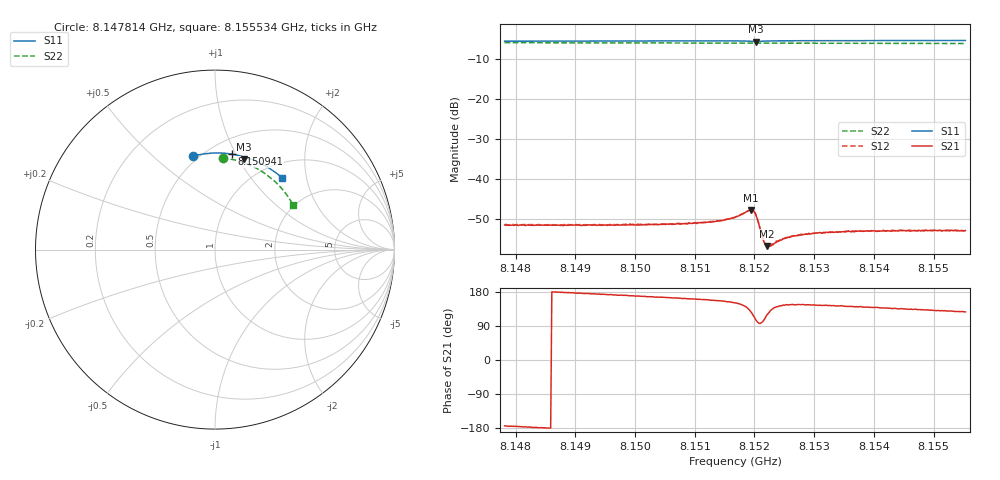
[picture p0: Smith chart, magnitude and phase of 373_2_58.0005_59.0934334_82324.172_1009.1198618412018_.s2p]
#  HZ  S  RI  R  50.00
! Rohde & Schwarz Vector Network Analyzer
! Rohde-Schwarz,ZNB20-2Port,1311601062101988,3.16
! Created: UTC 3/21/2024, 1:07:00 AM
! freq[Hz]  re:S11  im:S11  re:S21  im:S21  re:S12  im:S12  re:S22  im:S22
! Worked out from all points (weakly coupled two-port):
!   401 points, 8.147814 GHz to 8.155534 GHz, reference 50 ohm
!   highest |S21| = -47.82 dB at 8.151944 GHz (marker M1); lowest = -56.9 dB at 8.152214 GHz (marker M2)
!   lowest |S11| = -5.5 dB at 8.152021 GHz (marker M3), VSWR 3.25, Z = 37.5 + j52.6 ohm
!   |S11| at or under -10 dB: nowhere
!   |S22| runs from -6.0 to -5.8 dB; largest |S21 - S12| = 0.00012
!   S11 on the Smith chart (normalised r, x): 8.147814 GHz: 0.47, +0.68; 8.150941 GHz: 0.64, +0.96; 8.155534 GHz: 1.27, +1.45
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8.1478137e9  -0.1239 0.5205  -0.00262 -0.00029  -0.00265 -0.000226  0.0424 0.5108
8.1491069e9  -0.0351 0.5362  -0.00261 0.000186  -0.00262 0.000232  0.1248 0.4954
8.1504001e9  0.0549 0.5369  -0.00259 0.00065  -0.00261 0.000715  0.2033 0.4669
8.1509405e9  0.0925 0.5323  -0.00261 0.000882  -0.00264 0.000934  0.234 0.4511
8.1513072e9  0.118 0.5276  -0.00267 0.00111  -0.00271 0.00114  0.2543 0.4393
8.151674e9  0.1445 0.5208  -0.00286 0.00162  -0.00287 0.00165  0.274 0.4267
8.1518863e9  0.1597 0.5121  -0.00285 0.00269  -0.00283 0.00277  0.2852 0.4187
8.1519442e9  0.162 0.5079  -0.00241 0.00327  -0.0024 0.00333  0.288 0.4165
8.1519828e9  0.162 0.5054  -0.00177 0.00354  -0.00174 0.00359  0.2897 0.4152
8.1520214e9  0.1607 0.5045  -0.000986 0.00342  -0.000979 0.00347  0.2917 0.4136
8.15206e9  0.1601 0.5057  -0.00043 0.0029  -0.000414 0.00292  0.2935 0.4124
8.1521179e9  0.1624 0.5088  -0.000308 0.00201  -0.000273 0.00201  0.2965 0.4102
8.1521565e9  0.1653 0.51  -0.000424 0.00158  -0.000393 0.00162  0.2985 0.4088
8.1521758e9  0.1668 0.5105  -0.000522 0.00145  -0.000494 0.00147  0.2995 0.4082
8.1522144e9  0.17 0.5108  -0.000724 0.00124  -0.000712 0.00127  0.3015 0.4067
8.1522916e9  0.1765 0.5105  -0.00101 0.00107  -0.00104 0.00113  0.3054 0.4036
8.152446e9  0.1881 0.5078  -0.00135 0.00102  -0.00137 0.00105  0.3131 0.3976
8.1526004e9  0.1991 0.5045  -0.00155 0.00104  -0.00155 0.00109  0.3203 0.3912
8.1529672e9  0.2237 0.495  -0.00169 0.00119  -0.0017 0.00119  0.3379 0.3757
8.1536234e9  0.2651 0.4756  -0.00169 0.00135  -0.00171 0.00141  0.3666 0.346
8.1542604e9  0.3031 0.4533  -0.00161 0.00153  -0.00163 0.00158  0.392 0.315
8.1555343e9  0.3729 0.4  -0.00135 0.0018  -0.00135 0.00179  0.4348 0.2482
